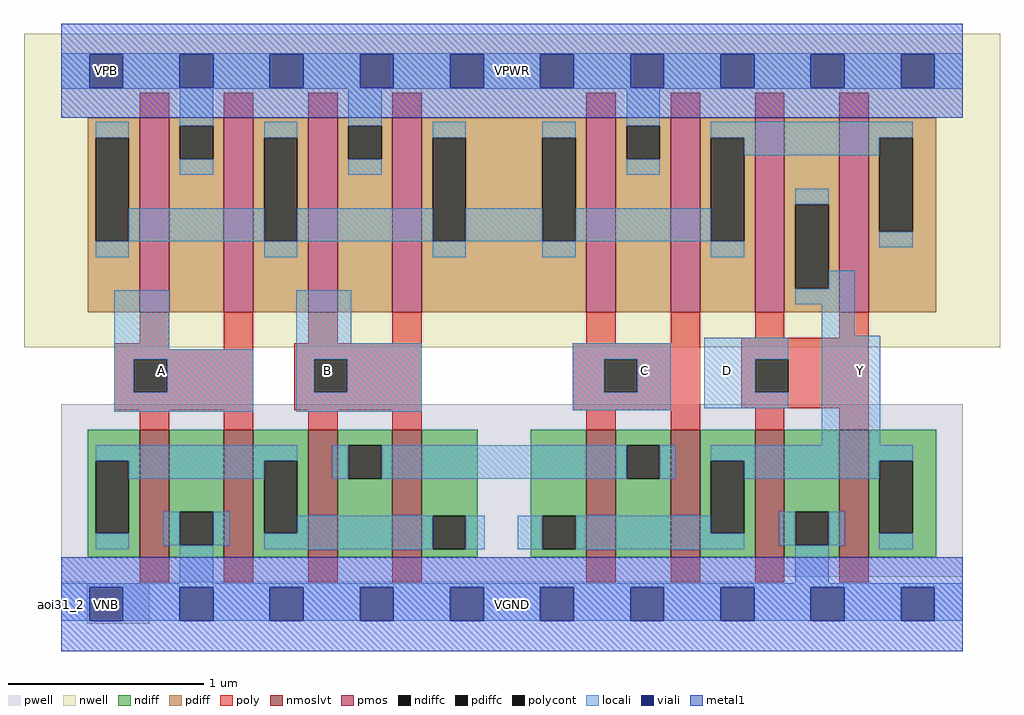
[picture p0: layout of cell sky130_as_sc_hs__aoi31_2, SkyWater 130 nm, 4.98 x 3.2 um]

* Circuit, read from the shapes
.subckt sky130_as_sc_hs__aoi31_2 VNB VPB VPWR VGND A B C D Y
XM1 VGND A n1 VNB sky130_fd_pr__nfet_01v8_lvt w=0.65 l=0.15 m=2
XM2 n2 B n1 VNB sky130_fd_pr__nfet_01v8_lvt w=0.65 l=0.15 m=2
XM3 n2 C Y VNB sky130_fd_pr__nfet_01v8_lvt w=0.65 l=0.15 m=2
XM4 VGND D Y VNB sky130_fd_pr__nfet_01v8_lvt w=0.65 l=0.15 m=2
XM5 VPWR A n3 VPB sky130_fd_pr__pfet_01v8 w=0.99 l=0.15 m=2
XM6 VPWR B n3 VPB sky130_fd_pr__pfet_01v8 w=0.99 l=0.15 m=2
XM7 VPWR C n3 VPB sky130_fd_pr__pfet_01v8 w=0.99 l=0.15 m=2
XM8 Y D n3 VPB sky130_fd_pr__pfet_01v8 w=0.99 l=0.15 m=2
.ends

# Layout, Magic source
magic
tech sky130A
magscale 1 2
<< nwell >>
rect -38 262 958 582
<< pwell >>
rect 0 28 920 204
rect 0 22 736 28
rect 26 -20 90 22
<< pmos >>
rect 80 298 110 496
rect 166 298 196 496
rect 252 298 282 496
rect 338 298 368 496
rect 536 298 566 496
rect 622 298 652 496
rect 708 298 738 496
rect 794 298 824 496
<< nmoslvt >>
rect 80 48 110 178
rect 166 48 196 178
rect 252 48 282 178
rect 338 48 368 178
rect 536 48 566 178
rect 622 48 652 178
rect 708 48 738 178
rect 794 48 824 178
<< ndiff >>
rect 27 146 80 178
rect 27 72 35 146
rect 69 72 80 146
rect 27 48 80 72
rect 110 94 166 178
rect 110 60 121 94
rect 155 60 166 94
rect 110 48 166 60
rect 196 146 252 178
rect 196 72 207 146
rect 241 72 252 146
rect 196 48 252 72
rect 282 162 338 178
rect 282 128 293 162
rect 327 128 338 162
rect 282 48 338 128
rect 368 90 425 178
rect 368 56 379 90
rect 413 56 425 90
rect 368 48 425 56
rect 479 90 536 178
rect 479 56 491 90
rect 525 56 536 90
rect 479 48 536 56
rect 566 162 622 178
rect 566 128 577 162
rect 611 128 622 162
rect 566 48 622 128
rect 652 146 708 178
rect 652 72 663 146
rect 697 72 708 146
rect 652 48 708 72
rect 738 94 794 178
rect 738 60 749 94
rect 783 60 794 94
rect 738 48 794 60
rect 824 146 893 178
rect 824 72 835 146
rect 869 72 893 146
rect 824 48 893 72
<< pdiff >>
rect 27 476 80 496
rect 27 370 35 476
rect 69 370 80 476
rect 27 298 80 370
rect 110 488 166 496
rect 110 454 121 488
rect 155 454 166 488
rect 110 298 166 454
rect 196 476 252 496
rect 196 370 207 476
rect 241 370 252 476
rect 196 298 252 370
rect 282 488 338 496
rect 282 454 293 488
rect 327 454 338 488
rect 282 298 338 454
rect 368 476 536 496
rect 368 370 379 476
rect 413 370 491 476
rect 525 370 536 476
rect 368 298 536 370
rect 566 488 622 496
rect 566 454 577 488
rect 611 454 622 488
rect 566 298 622 454
rect 652 476 708 496
rect 652 370 663 476
rect 697 370 708 476
rect 652 298 708 370
rect 738 408 794 496
rect 738 322 749 408
rect 783 322 794 408
rect 738 298 794 322
rect 824 476 893 496
rect 824 380 835 476
rect 869 380 893 476
rect 824 298 893 380
<< ndiffc >>
rect 35 72 69 146
rect 121 60 155 94
rect 207 72 241 146
rect 293 128 327 162
rect 379 56 413 90
rect 491 56 525 90
rect 577 128 611 162
rect 663 72 697 146
rect 749 60 783 94
rect 835 72 869 146
<< pdiffc >>
rect 35 370 69 476
rect 121 454 155 488
rect 207 370 241 476
rect 293 454 327 488
rect 379 370 413 476
rect 491 370 525 476
rect 577 454 611 488
rect 663 370 697 476
rect 749 322 783 408
rect 835 380 869 476
<< poly >>
rect 80 496 110 522
rect 166 496 196 522
rect 252 496 282 522
rect 338 496 368 522
rect 536 496 566 522
rect 622 496 652 522
rect 708 496 738 522
rect 794 496 824 522
rect 80 266 110 298
rect 54 260 110 266
rect 166 260 196 298
rect 252 266 282 298
rect 338 266 368 298
rect 536 266 566 298
rect 622 266 652 298
rect 708 272 738 298
rect 794 272 824 298
rect 54 250 196 260
rect 54 216 74 250
rect 108 216 196 250
rect 54 198 196 216
rect 238 250 368 266
rect 238 216 258 250
rect 292 216 368 250
rect 238 198 368 216
rect 522 250 652 266
rect 522 216 554 250
rect 588 216 652 250
rect 522 198 652 216
rect 694 250 824 272
rect 694 216 708 250
rect 742 216 824 250
rect 694 200 824 216
rect 80 178 110 198
rect 166 178 196 198
rect 252 178 282 198
rect 338 178 368 198
rect 536 178 566 198
rect 622 178 652 198
rect 708 178 738 200
rect 794 178 824 200
rect 80 22 110 48
rect 166 22 196 48
rect 252 22 282 48
rect 338 22 368 48
rect 536 22 566 48
rect 622 22 652 48
rect 708 22 738 48
rect 794 22 824 48
<< polycont >>
rect 74 216 108 250
rect 258 216 292 250
rect 554 216 588 250
rect 708 216 742 250
<< locali >>
rect 0 561 920 562
rect 0 527 29 561
rect 63 527 121 561
rect 155 527 213 561
rect 247 527 305 561
rect 339 527 397 561
rect 431 527 489 561
rect 523 527 581 561
rect 615 527 673 561
rect 707 527 765 561
rect 799 527 857 561
rect 891 527 920 561
rect 0 526 920 527
rect 35 476 69 492
rect 121 488 155 526
rect 121 438 155 454
rect 207 476 241 492
rect 69 370 207 404
rect 293 488 327 526
rect 293 438 327 454
rect 379 476 413 492
rect 241 370 379 404
rect 491 476 525 492
rect 413 370 491 404
rect 577 488 611 526
rect 577 438 611 454
rect 663 476 869 492
rect 525 370 663 404
rect 697 458 835 476
rect 35 354 69 370
rect 207 354 241 370
rect 379 354 413 370
rect 491 354 525 370
rect 663 354 697 370
rect 749 408 783 424
rect 835 364 869 380
rect 783 322 810 340
rect 54 260 110 320
rect 240 266 296 320
rect 749 306 810 322
rect 776 274 810 306
rect 54 250 196 260
rect 54 216 74 250
rect 108 216 196 250
rect 54 196 196 216
rect 240 250 368 266
rect 240 216 258 250
rect 292 216 368 250
rect 240 196 368 216
rect 522 250 622 266
rect 522 216 554 250
rect 588 216 622 250
rect 522 198 622 216
rect 656 250 742 272
rect 656 216 708 250
rect 656 200 742 216
rect 776 162 836 274
rect 35 146 241 162
rect 69 128 207 146
rect 35 56 69 72
rect 104 60 121 94
rect 155 60 172 94
rect 277 128 293 162
rect 327 128 577 162
rect 611 128 627 162
rect 663 146 869 162
rect 241 72 379 90
rect 121 21 155 60
rect 207 56 379 72
rect 413 56 432 90
rect 466 56 491 90
rect 525 72 663 90
rect 697 128 835 146
rect 525 56 697 72
rect 733 60 749 94
rect 783 60 799 94
rect 749 21 783 60
rect 835 56 869 72
rect 0 17 920 21
rect 0 -17 29 17
rect 63 -17 121 17
rect 155 -17 213 17
rect 247 -17 305 17
rect 339 -17 397 17
rect 431 -17 489 17
rect 523 -17 581 17
rect 615 -17 673 17
rect 707 -17 765 17
rect 799 -17 857 17
rect 891 -17 920 17
<< viali >>
rect 29 527 63 561
rect 121 527 155 561
rect 213 527 247 561
rect 305 527 339 561
rect 397 527 431 561
rect 489 527 523 561
rect 581 527 615 561
rect 673 527 707 561
rect 765 527 799 561
rect 857 527 891 561
rect 29 -17 63 17
rect 121 -17 155 17
rect 213 -17 247 17
rect 305 -17 339 17
rect 397 -17 431 17
rect 489 -17 523 17
rect 581 -17 615 17
rect 673 -17 707 17
rect 765 -17 799 17
rect 857 -17 891 17
<< metal1 >>
rect 0 561 920 592
rect 0 527 29 561
rect 63 527 121 561
rect 155 527 213 561
rect 247 527 305 561
rect 339 527 397 561
rect 431 527 489 561
rect 523 527 581 561
rect 615 527 673 561
rect 707 527 765 561
rect 799 527 857 561
rect 891 527 920 561
rect 0 496 920 527
rect 0 17 920 48
rect 0 -17 29 17
rect 63 -17 121 17
rect 155 -17 213 17
rect 247 -17 305 17
rect 339 -17 397 17
rect 431 -17 489 17
rect 523 -17 581 17
rect 615 -17 673 17
rect 707 -17 765 17
rect 799 -17 857 17
rect 891 -17 920 17
rect 0 -48 920 -17
<< labels >>
rlabel comment s 0 0 0 0 4 aoi31_2
flabel pwell s 29 -17 63 17 0 FreeSans 200 0 0 0 VNB
port 1 nsew ground bidirectional
flabel pwell s 46 0 46 0 0 FreeSans 200 0 0 0 VNB
flabel nwell s 29 527 63 561 0 FreeSans 200 0 0 0 VPB
port 2 nsew power bidirectional
flabel nwell s 46 544 46 544 0 FreeSans 200 0 0 0 VPB
flabel metal1 s 29 527 63 561 0 FreeSans 200 0 0 0 VPWR
port 3 nsew power bidirectional abutment
flabel metal1 s 29 -17 63 17 0 FreeSans 200 0 0 0 VGND
port 4 nsew ground bidirectional abutment
rlabel metal1 s 0 -48 920 48 1 VGND
port 4 nsew ground bidirectional abutment
rlabel metal1 s 0 496 920 592 1 VPWR
port 3 nsew power bidirectional abutment
flabel locali s 85 221 119 255 0 FreeSans 200 0 0 0 A
port 5 nsew signal input
flabel locali s 102 238 102 238 0 FreeSans 200 0 0 0 A
flabel locali s 255 221 289 255 0 FreeSans 200 0 0 0 B
port 6 nsew signal input
flabel locali s 277 238 277 238 0 FreeSans 200 0 0 0 B
flabel locali s 578 221 612 255 0 FreeSans 200 0 0 0 C
port 7 nsew signal input
flabel locali s 595 238 595 238 0 FreeSans 200 0 0 0 C
flabel locali s 663 221 697 255 0 FreeSans 200 0 0 0 D
port 8 nsew signal input
flabel locali s 680 238 680 238 0 FreeSans 200 0 0 0 D
flabel locali s 799 221 833 255 0 FreeSans 200 0 0 0 Y
port 9 nsew signal output
flabel locali s 816 238 816 238 0 FreeSans 200 0 0 0 Y
<< properties >>
string FIXED_BBOX 0 0 920 544
string GDS_FILE $PDKPATH/libs.ref/sky130_as_sc_hs/gds/sky130_as_sc_hs__aoi31_2.gds
string LEFclass CORE
string LEFsite unithd
string LEFsymmetry X Y R90
string MASKHINTS_LVTN 0 -4 920 220
string MASKHINTS_NSDM 0 -38 920 209
string MASKHINTS_PSDM 0 273 920 582
<< end >>
